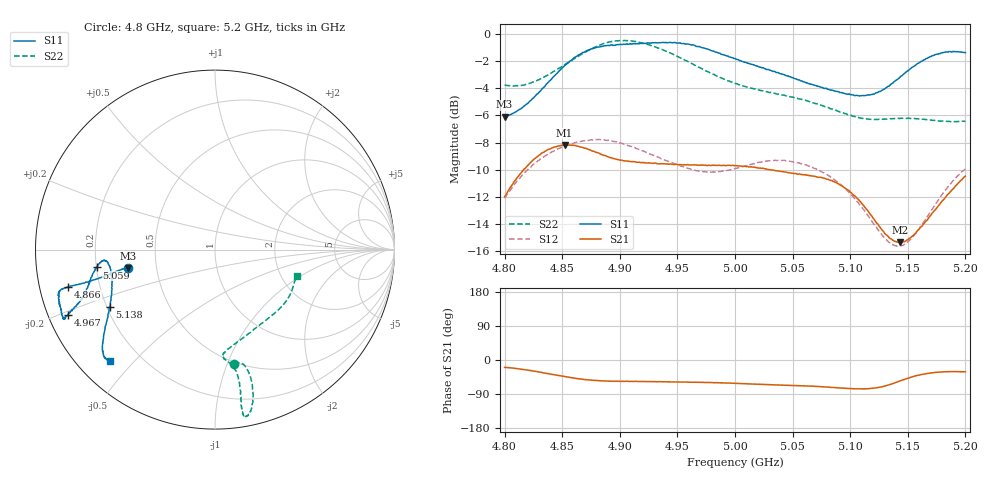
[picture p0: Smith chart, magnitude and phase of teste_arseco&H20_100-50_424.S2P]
! Network Analyzer HP8722D
! Hewlett-Packard
! Data name: Linha & Wilkinson
! Saver's name: Rodrigo Anjos
! Comments: Teste da utilização de aquisição
! continua pelo VNA HP8722D
! Time and date: 6/5/2025 16:06
!  Frequency  S11  S21  S12  S22
# HZ  S  MA R 50
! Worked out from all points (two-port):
!   401 points, 4.8 GHz to 5.2 GHz, reference 50 ohm
!   highest |S21| = -8.17 dB at 4.852 GHz (marker M1); lowest = -15.3 dB at 5.143 GHz (marker M2)
!   |S21| within 3 dB of the highest: 4.806 GHz to 5.093 GHz (286.5 MHz wide, 5.79 % of centre); 5.191639 GHz to end of sweep
!   lowest |S11| = -6.1 dB at 4.8 GHz (marker M3), VSWR 2.97, Z = 17 - j4.64 ohm
!   |S11| at or under -10 dB: nowhere
!   |S22| runs from -6.5 to -0.5 dB; largest |S21 - S12| = 0.62
!   S11 on the Smith chart (normalised r, x): 4.8 GHz: 0.34, -0.09; 4.866 GHz: 0.09, -0.12; 4.967 GHz: 0.06, -0.21; 5.059 GHz: 0.20, -0.07; 5.138 GHz: 0.21, -0.24; 5.2 GHz: 0.09, -0.43
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4.8e9  0.496 -168.0  0.2519 -19.6  0.2485 -140.8  0.648 -80.4
4.824e9  0.5771 -167.4  0.3413 -28.5  0.3284 -144.1  0.6638 -75.9
4.852e9  0.7633 -165.7  0.3905 -43.7  0.3872 -149.3  0.7701 -74.6
4.866e9  0.8429 -165.8  0.3836 -50.3  0.4022 -151.7  0.8378 -75.3
4.867e9  0.8497 -165.7  0.383 -50.6  0.4031 -151.9  0.8422 -75.4
4.879e9  0.8895 -165.4  0.367 -54.2  0.4085 -154.0  0.8936 -76.6
4.899e9  0.9126 -162.6  0.3443 -56.4  0.3983 -156.5  0.9438 -79.0
4.934e9  0.9279 -156.2  0.333 -57.4  0.3514 -155.6  0.8837 -80.5
4.967e9  0.8978 -156.0  0.3289 -58.7  0.3137 -147.8  0.7585 -79.6
5e9  0.8113 -158.8  0.3276 -61.6  0.3199 -137.1  0.6572 -81.2
5.036e9  0.7206 -165.5  0.3137 -65.8  0.3421 -134.4  0.6012 -85.6
5.059e9  0.6669 -171.4  0.3036 -68.0  0.3316 -135.9  0.5718 -84.3
5.067e9  0.6514 -172.9  0.3005 -69.0  0.3237 -136.7  0.5591 -82.6
5.086e9  0.6171 -174.5  0.2862 -72.7  0.2918 -138.3  0.5266 -75.4
5.101e9  0.5974 -171.8  0.2602 -75.8  0.2557 -138.7  0.5015 -66.6
5.117e9  0.5962 -164.7  0.2181 -75.4  0.2097 -135.0  0.4851 -55.1
5.134e9  0.6431 -154.1  0.1776 -65.1  0.1709 -120.8  0.4865 -43.3
5.138e9  0.6666 -151.6  0.1736 -61.2  0.1671 -115.6  0.4875 -40.8
5.143e9  0.692 -149.1  0.1711 -55.7  0.1659 -108.9  0.4884 -38.0
5.154e9  0.7544 -144.2  0.1807 -44.3  0.1786 -94.9  0.4878 -32.2
5.173e9  0.8352 -138.8  0.2236 -33.1  0.2332 -80.7  0.4809 -24.2
5.2e9  0.8532 -133.5  0.2999 -31.2  0.3189 -76.7  0.4779 -17.6
